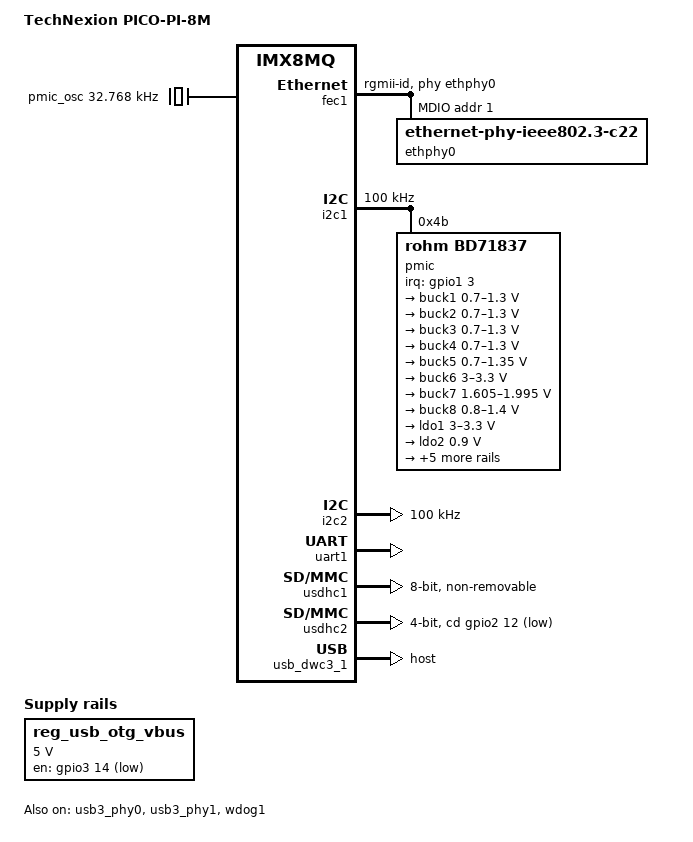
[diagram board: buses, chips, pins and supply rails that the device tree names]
// SPDX-License-Identifier: GPL-2.0+
/*
 * Copyright 2018 Wandboard, Org.
 * Copyright 2017 NXP
 *
 * Author: Richard Hu <hakahu@gmail.com>
 */

/dts-v1/;

#include "imx8mq.dtsi"

/ {
	model = "TechNexion PICO-PI-8M";
	compatible = "technexion,pico-pi-imx8m", "fsl,imx8mq";

	chosen {
		stdout-path = &uart1;
	};

	pmic_osc: clock-pmic {
		compatible = "fixed-clock";
		#clock-cells = <0>;
		clock-frequency = <32768>;
		clock-output-names = "pmic_osc";
	};

	reg_usb_otg_vbus: regulator-usb-otg-vbus {
		pinctrl-names = "default";
		pinctrl-0 = <&pinctrl_otg_vbus>;
		compatible = "regulator-fixed";
		regulator-name = "usb_otg_vbus";
		regulator-min-microvolt = <5000000>;
		regulator-max-microvolt = <5000000>;
		gpio = <&gpio3 14 GPIO_ACTIVE_LOW>;
	};
};

&fec1 {
	pinctrl-names = "default";
	pinctrl-0 = <&pinctrl_fec1 &pinctrl_enet_3v3>;
	phy-mode = "rgmii-id";
	phy-handle = <&ethphy0>;
	fsl,magic-packet;
	status = "okay";

	mdio {
		#address-cells = <1>;
		#size-cells = <0>;

		ethphy0: ethernet-phy@1 {
			compatible = "ethernet-phy-ieee802.3-c22";
			reg = <1>;
		};
	};
};

&i2c1 {
	clock-frequency = <100000>;
	pinctrl-names = "default";
	pinctrl-0 = <&pinctrl_i2c1>;
	status = "okay";

	pmic: pmic@4b {
		reg = <0x4b>;
		compatible = "rohm,bd71837";
		pinctrl-names = "default";
		pinctrl-0 = <&pinctrl_pmic>;
		clocks = <&pmic_osc>;
		clock-names = "osc";
		clock-output-names = "pmic_clk";
		interrupt-parent = <&gpio1>;
		interrupts = <3 GPIO_ACTIVE_LOW>;
		interrupt-names = "irq";

		regulators {
			buck1: BUCK1 {
				regulator-name = "buck1";
				regulator-min-microvolt = <700000>;
				regulator-max-microvolt = <1300000>;
				regulator-boot-on;
				regulator-ramp-delay = <1250>;
				rohm,dvs-run-voltage = <900000>;
				rohm,dvs-idle-voltage = <850000>;
				rohm,dvs-suspend-voltage = <800000>;
			};

			buck2: BUCK2 {
				regulator-name = "buck2";
				regulator-min-microvolt = <700000>;
				regulator-max-microvolt = <1300000>;
				regulator-boot-on;
				regulator-ramp-delay = <1250>;
				rohm,dvs-run-voltage = <1000000>;
				rohm,dvs-idle-voltage = <900000>;
			};

			buck3: BUCK3 {
				regulator-name = "buck3";
				regulator-min-microvolt = <700000>;
				regulator-max-microvolt = <1300000>;
				regulator-boot-on;
				rohm,dvs-run-voltage = <1000000>;
			};

			buck4: BUCK4 {
				regulator-name = "buck4";
				regulator-min-microvolt = <700000>;
				regulator-max-microvolt = <1300000>;
				regulator-boot-on;
				rohm,dvs-run-voltage = <1000000>;
			};

			buck5: BUCK5 {
				regulator-name = "buck5";
				regulator-min-microvolt = <700000>;
				regulator-max-microvolt = <1350000>;
				regulator-boot-on;
			};

			buck6: BUCK6 {
				regulator-name = "buck6";
				regulator-min-microvolt = <3000000>;
				regulator-max-microvolt = <3300000>;
				regulator-boot-on;
			};

			buck7: BUCK7 {
				regulator-name = "buck7";
				regulator-min-microvolt = <1605000>;
				regulator-max-microvolt = <1995000>;
				regulator-boot-on;
			};

			buck8: BUCK8 {
				regulator-name = "buck8";
				regulator-min-microvolt = <800000>;
				regulator-max-microvolt = <1400000>;
				regulator-boot-on;
			};

			ldo1: LDO1 {
				regulator-name = "ldo1";
				regulator-min-microvolt = <3000000>;
				regulator-max-microvolt = <3300000>;
				regulator-boot-on;
				regulator-always-on;
			};

			ldo2: LDO2 {
				regulator-name = "ldo2";
				regulator-min-microvolt = <900000>;
				regulator-max-microvolt = <900000>;
				regulator-boot-on;
				regulator-always-on;
			};

			ldo3: LDO3 {
				regulator-name = "ldo3";
				regulator-min-microvolt = <1800000>;
				regulator-max-microvolt = <3300000>;
				regulator-boot-on;
			};

			ldo4: LDO4 {
				regulator-name = "ldo4";
				regulator-min-microvolt = <900000>;
				regulator-max-microvolt = <1800000>;
				regulator-boot-on;
			};

			ldo5: LDO5 {
				regulator-name = "ldo5";
				regulator-min-microvolt = <1800000>;
				regulator-max-microvolt = <3300000>;
				regulator-boot-on;
			};

			ldo6: LDO6 {
				regulator-name = "ldo6";
				regulator-min-microvolt = <900000>;
				regulator-max-microvolt = <1800000>;
				regulator-boot-on;
			};

			ldo7: LDO7 {
				regulator-name = "ldo7";
				regulator-min-microvolt = <1800000>;
				regulator-max-microvolt = <3300000>;
				regulator-boot-on;
			};
		};
	};
};

&i2c2 {
	clock-frequency = <100000>;
	pinctrl-names = "default";
	pinctrl-0 = <&pinctrl_i2c2>;
	status = "okay";
};

&uart1 { /* console */
	pinctrl-names = "default";
	pinctrl-0 = <&pinctrl_uart1>;
	status = "okay";
};

&usdhc1 {
	pinctrl-names = "default", "state_100mhz", "state_200mhz";
	pinctrl-0 = <&pinctrl_usdhc1>;
	pinctrl-1 = <&pinctrl_usdhc1_100mhz>;
	pinctrl-2 = <&pinctrl_usdhc1_200mhz>;
	bus-width = <8>;
	non-removable;
	status = "okay";
};

&usdhc2 {
	pinctrl-names = "default", "state_100mhz", "state_200mhz";
	pinctrl-0 = <&pinctrl_usdhc2>, <&pinctrl_usdhc2_gpio>;
	pinctrl-1 = <&pinctrl_usdhc2_100mhz>, <&pinctrl_usdhc2_gpio>;
	pinctrl-2 = <&pinctrl_usdhc2_200mhz>, <&pinctrl_usdhc2_gpio>;
	bus-width = <4>;
	cd-gpios = <&gpio2 12 GPIO_ACTIVE_LOW>;
	status = "okay";
};

&usb3_phy0 {
	status = "okay";
};

&usb3_phy1 {
	status = "okay";
};

&usb_dwc3_1 {
	dr_mode = "host";
	status = "okay";
};

&wdog1 {
	pinctrl-names = "default";
	pinctrl-0 = <&pinctrl_wdog>;
	fsl,ext-reset-output;
	status = "okay";
};

&iomuxc {
	pinctrl_enet_3v3: enet3v3grp {
		fsl,pins = <
			MX8MQ_IOMUXC_GPIO1_IO00_GPIO1_IO0	0x19
		>;
	};

	pinctrl_fec1: fec1grp {
		fsl,pins = <
			MX8MQ_IOMUXC_ENET_MDC_ENET1_MDC		0x3
			MX8MQ_IOMUXC_ENET_MDIO_ENET1_MDIO	0x23
			MX8MQ_IOMUXC_ENET_TD3_ENET1_RGMII_TD3	0x1f
			MX8MQ_IOMUXC_ENET_TD2_ENET1_RGMII_TD2	0x1f
			MX8MQ_IOMUXC_ENET_TD1_ENET1_RGMII_TD1	0x1f
			MX8MQ_IOMUXC_ENET_TD0_ENET1_RGMII_TD0	0x1f
			MX8MQ_IOMUXC_ENET_RD3_ENET1_RGMII_RD3	0x91
			MX8MQ_IOMUXC_ENET_RD2_ENET1_RGMII_RD2	0x91
			MX8MQ_IOMUXC_ENET_RD1_ENET1_RGMII_RD1	0x91
			MX8MQ_IOMUXC_ENET_RD0_ENET1_RGMII_RD0	0x91
			MX8MQ_IOMUXC_ENET_TXC_ENET1_RGMII_TXC	0x1f
			MX8MQ_IOMUXC_ENET_RXC_ENET1_RGMII_RXC	0x91
			MX8MQ_IOMUXC_ENET_RX_CTL_ENET1_RGMII_RX_CTL	0x91
			MX8MQ_IOMUXC_ENET_TX_CTL_ENET1_RGMII_TX_CTL	0x1f
			MX8MQ_IOMUXC_GPIO1_IO09_GPIO1_IO9	0x19
		>;
	};

	pinctrl_i2c1: i2c1grp {
		fsl,pins = <
			MX8MQ_IOMUXC_I2C1_SCL_I2C1_SCL			0x4000007f
			MX8MQ_IOMUXC_I2C1_SDA_I2C1_SDA			0x4000007f
		>;
	};

	pinctrl_i2c2: i2c2grp {
		fsl,pins = <
			MX8MQ_IOMUXC_I2C2_SCL_I2C2_SCL			0x4000007f
			MX8MQ_IOMUXC_I2C2_SDA_I2C2_SDA			0x4000007f
		>;
	};

	pinctrl_otg_vbus: otgvbusgrp {
		fsl,pins = <
			MX8MQ_IOMUXC_NAND_DQS_GPIO3_IO14		0x19   /* USB OTG VBUS Enable */
		>;
	};

	pinctrl_pmic: pmicirq {
		fsl,pins = <
			MX8MQ_IOMUXC_GPIO1_IO03_GPIO1_IO3	0x41
		>;
	};

	pinctrl_uart1: uart1grp {
		fsl,pins = <
			MX8MQ_IOMUXC_UART1_RXD_UART1_DCE_RX		0x49
			MX8MQ_IOMUXC_UART1_TXD_UART1_DCE_TX		0x49
		>;
	};

	pinctrl_uart2: uart2grp {
		fsl,pins = <
			MX8MQ_IOMUXC_UART2_RXD_UART2_DCE_RX		0x49
			MX8MQ_IOMUXC_UART2_TXD_UART2_DCE_TX		0x49
			MX8MQ_IOMUXC_UART4_RXD_UART2_DCE_CTS_B		0x49
			MX8MQ_IOMUXC_UART4_TXD_UART2_DCE_RTS_B		0x49
		>;
	};

	pinctrl_usdhc1: usdhc1grp {
		fsl,pins = <
			MX8MQ_IOMUXC_SD1_CLK_USDHC1_CLK			0x83
			MX8MQ_IOMUXC_SD1_CMD_USDHC1_CMD			0xc3
			MX8MQ_IOMUXC_SD1_DATA0_USDHC1_DATA0		0xc3
			MX8MQ_IOMUXC_SD1_DATA1_USDHC1_DATA1		0xc3
			MX8MQ_IOMUXC_SD1_DATA2_USDHC1_DATA2		0xc3
			MX8MQ_IOMUXC_SD1_DATA3_USDHC1_DATA3		0xc3
			MX8MQ_IOMUXC_SD1_DATA4_USDHC1_DATA4		0xc3
			MX8MQ_IOMUXC_SD1_DATA5_USDHC1_DATA5		0xc3
			MX8MQ_IOMUXC_SD1_DATA6_USDHC1_DATA6		0xc3
			MX8MQ_IOMUXC_SD1_DATA7_USDHC1_DATA7		0xc3
			MX8MQ_IOMUXC_SD1_STROBE_USDHC1_STROBE		0x83
		>;
	};

	pinctrl_usdhc1_100mhz: usdhc1grp100mhz {
		fsl,pins = <
			MX8MQ_IOMUXC_SD1_CLK_USDHC1_CLK			0x85
			MX8MQ_IOMUXC_SD1_CMD_USDHC1_CMD			0xc5
			MX8MQ_IOMUXC_SD1_DATA0_USDHC1_DATA0		0xc5
			MX8MQ_IOMUXC_SD1_DATA1_USDHC1_DATA1		0xc5
			MX8MQ_IOMUXC_SD1_DATA2_USDHC1_DATA2		0xc5
			MX8MQ_IOMUXC_SD1_DATA3_USDHC1_DATA3		0xc5
			MX8MQ_IOMUXC_SD1_DATA4_USDHC1_DATA4		0xc5
			MX8MQ_IOMUXC_SD1_DATA5_USDHC1_DATA5		0xc5
			MX8MQ_IOMUXC_SD1_DATA6_USDHC1_DATA6		0xc5
			MX8MQ_IOMUXC_SD1_DATA7_USDHC1_DATA7		0xc5
			MX8MQ_IOMUXC_SD1_STROBE_USDHC1_STROBE		0x85
		>;
	};

	pinctrl_usdhc1_200mhz: usdhc1grp200mhz {
		fsl,pins = <
			MX8MQ_IOMUXC_SD1_CLK_USDHC1_CLK			0x87
			MX8MQ_IOMUXC_SD1_CMD_USDHC1_CMD			0xc7
			MX8MQ_IOMUXC_SD1_DATA0_USDHC1_DATA0		0xc7
			MX8MQ_IOMUXC_SD1_DATA1_USDHC1_DATA1		0xc7
			MX8MQ_IOMUXC_SD1_DATA2_USDHC1_DATA2		0xc7
			MX8MQ_IOMUXC_SD1_DATA3_USDHC1_DATA3		0xc7
			MX8MQ_IOMUXC_SD1_DATA4_USDHC1_DATA4		0xc7
			MX8MQ_IOMUXC_SD1_DATA5_USDHC1_DATA5		0xc7
			MX8MQ_IOMUXC_SD1_DATA6_USDHC1_DATA6		0xc7
			MX8MQ_IOMUXC_SD1_DATA7_USDHC1_DATA7		0xc7
			MX8MQ_IOMUXC_SD1_STROBE_USDHC1_STROBE		0x87
		>;
	};

	pinctrl_usdhc2_gpio: usdhc2grpgpio {
		fsl,pins = <
			MX8MQ_IOMUXC_SD2_CD_B_GPIO2_IO12	0x41
		>;
	};

	pinctrl_usdhc2: usdhc2grp {
		fsl,pins = <
			MX8MQ_IOMUXC_SD2_CLK_USDHC2_CLK			0x83
			MX8MQ_IOMUXC_SD2_CMD_USDHC2_CMD			0xc3
			MX8MQ_IOMUXC_SD2_DATA0_USDHC2_DATA0		0xc3
			MX8MQ_IOMUXC_SD2_DATA1_USDHC2_DATA1		0xc3
			MX8MQ_IOMUXC_SD2_DATA2_USDHC2_DATA2		0xc3
			MX8MQ_IOMUXC_SD2_DATA3_USDHC2_DATA3		0xc3
			MX8MQ_IOMUXC_GPIO1_IO04_USDHC2_VSELECT		0xc1
		>;
	};

	pinctrl_usdhc2_100mhz: usdhc2grp100mhz {
		fsl,pins = <
			MX8MQ_IOMUXC_SD2_CLK_USDHC2_CLK			0x85
			MX8MQ_IOMUXC_SD2_CMD_USDHC2_CMD			0xc5
			MX8MQ_IOMUXC_SD2_DATA0_USDHC2_DATA0		0xc5
			MX8MQ_IOMUXC_SD2_DATA1_USDHC2_DATA1		0xc5
			MX8MQ_IOMUXC_SD2_DATA2_USDHC2_DATA2		0xc5
			MX8MQ_IOMUXC_SD2_DATA3_USDHC2_DATA3		0xc5
			MX8MQ_IOMUXC_GPIO1_IO04_USDHC2_VSELECT		0xc1
		>;
	};

	pinctrl_usdhc2_200mhz: usdhc2grp200mhz {
		fsl,pins = <
			MX8MQ_IOMUXC_SD2_CLK_USDHC2_CLK			0x87
			MX8MQ_IOMUXC_SD2_CMD_USDHC2_CMD			0xc7
			MX8MQ_IOMUXC_SD2_DATA0_USDHC2_DATA0		0xc7
			MX8MQ_IOMUXC_SD2_DATA1_USDHC2_DATA1		0xc7
			MX8MQ_IOMUXC_SD2_DATA2_USDHC2_DATA2		0xc7
			MX8MQ_IOMUXC_SD2_DATA3_USDHC2_DATA3		0xc7
			MX8MQ_IOMUXC_GPIO1_IO04_USDHC2_VSELECT		0xc1
		>;
	};

	pinctrl_wdog: wdoggrp {
		fsl,pins = <
			MX8MQ_IOMUXC_GPIO1_IO02_WDOG1_WDOG_B 0xc6
		>;
	};
};
